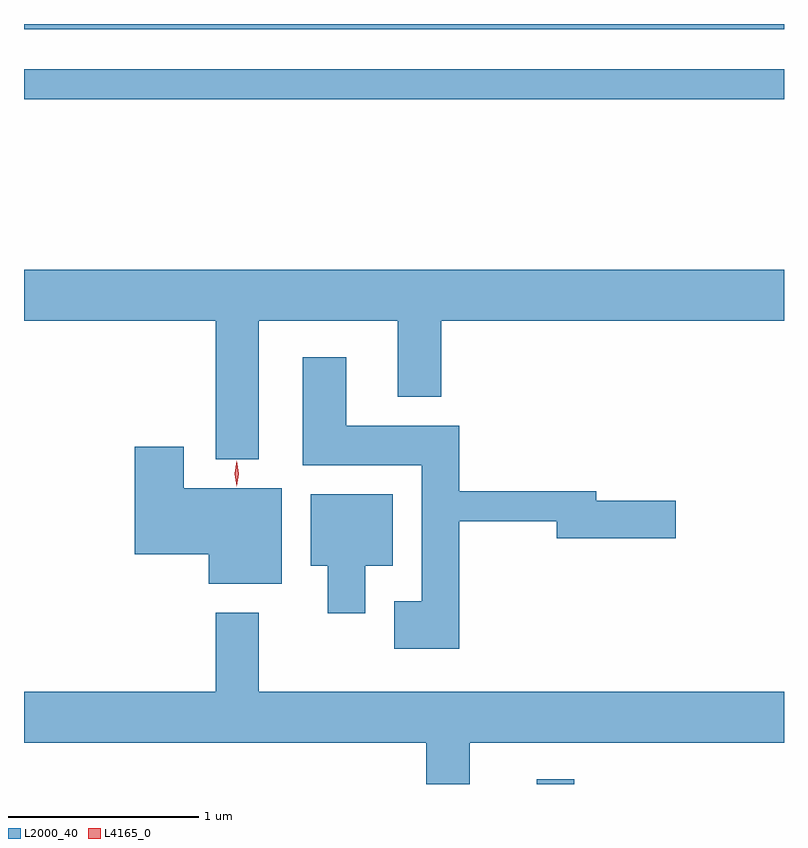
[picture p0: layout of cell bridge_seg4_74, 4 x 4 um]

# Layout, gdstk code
import gdstk
lib = gdstk.Library(unit=1e-6, precision=1e-09)
def R(c, l, rs):  # rectangles x0, y0, x1, y1
    for r in rs: c.add(gdstk.rectangle(r[:2], r[2:], *l))
def P(c, l, *ps):  # polygons
    for p in ps: c.add(gdstk.Polygon(p, *l))
L2000_40 = (2000, 40)
L4165_0 = (4165, 0)

bridge_seg4_74 = lib.new_cell('bridge_seg4_74')
R(bridge_seg4_74, L2000_40, [(1686.281,1263.438,1686.479,1263.464), (1683.583,1267.041,1687.583,1267.199), (1683.583,1267.411,1687.583,1267.438)])
P(bridge_seg4_74, L2000_40, [(1683.583,1265.876),(1684.591,1265.876),(1684.591,1265.146),(1684.819,1265.146),(1684.819,1265.876),(1685.551,1265.876),(1685.551,1265.476),(1685.779,1265.476),(1685.779,1265.876),(1687.583,1265.876),(1687.583,1266.144),(1683.583,1266.144)],
  [(1685.874,1264.821),(1686.386,1264.821),(1686.386,1264.731),(1687.014,1264.731),(1687.014,1264.929),(1686.594,1264.929),(1686.594,1264.979),(1685.874,1264.979),(1685.874,1265.324),(1685.279,1265.324),(1685.279,1265.684),(1685.051,1265.684),(1685.051,1265.116),(1685.676,1265.116),(1685.676,1264.399),(1685.531,1264.399),(1685.531,1264.151),(1685.874,1264.151)],
  [(1684.939,1264.994),(1684.424,1264.994),(1684.424,1265.214),(1684.166,1265.214),(1684.166,1264.646),(1684.556,1264.646),(1684.556,1264.491),(1684.939,1264.491)],
  [(1685.379,1264.586),(1685.524,1264.586),(1685.524,1264.964),(1685.091,1264.964),(1685.091,1264.586),(1685.181,1264.586),(1685.181,1264.336),(1685.379,1264.336)],
  [(1685.929,1263.656),(1687.583,1263.656),(1687.583,1263.924),(1684.819,1263.924),(1684.819,1264.339),(1684.591,1264.339),(1684.591,1263.924),(1683.583,1263.924),(1683.583,1263.656),(1685.701,1263.656),(1685.701,1263.438),(1685.929,1263.438)])
P(bridge_seg4_74, L4165_0, [(1684.702,1265.006),(1684.702,1265.006),(1684.692,1265.072),(1684.702,1265.139),(1684.702,1265.139),(1684.703,1265.139),(1684.712,1265.072),(1684.703,1265.006)])

lib.write_gds('bridge_seg4_74.gds')
